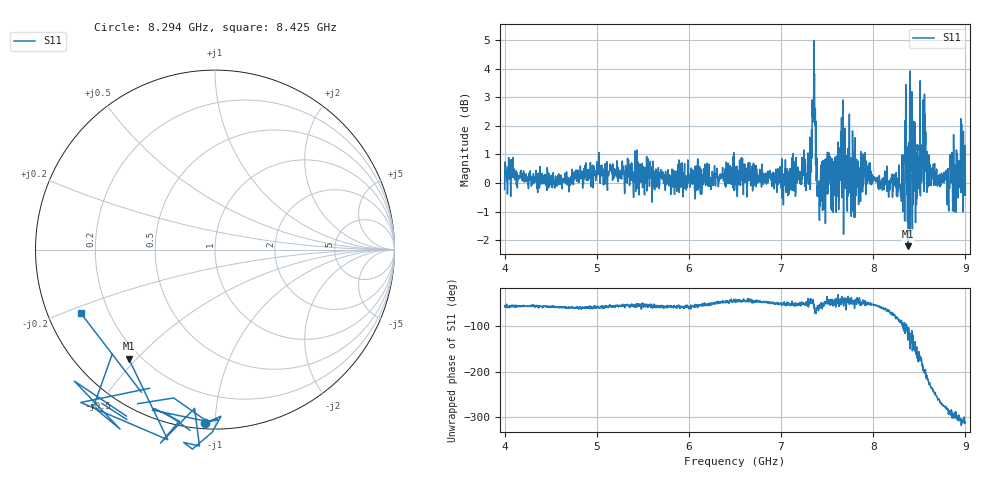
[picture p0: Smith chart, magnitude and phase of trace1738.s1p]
! Created with skrf 1.8.0 (http://scikit-rf.org).
# Hz S RI R 50.0
!freq ReS11 ImS11
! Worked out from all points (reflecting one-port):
!   1601 points, 4 GHz to 9 GHz, reference 50 ohm
!   lowest |S11| = -2.2 dB at 8.381 GHz (marker M1), VSWR 7.89, Z = 7.79 - j23.7 ohm
!   phase of S11 starts at -57 deg and turns -254 deg over the sweep
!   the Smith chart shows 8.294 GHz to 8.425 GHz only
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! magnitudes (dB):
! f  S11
! 4 GHz  -0.2
! 4.066 GHz  -0.5
! 4.625 GHz  -0.2
! 5.25 GHz  0.2
! 5.875 GHz  0.2
! 6.5 GHz  0.0
! 7.125 GHz  0.4
! 7.294 GHz  0.6
! 7.353 GHz  2.2
! 7.369 GHz  2.6
! 7.4 GHz  -0.3
! 7.412 GHz  -0.2
! 7.512 GHz  0.9
! 7.606 GHz  0.2
! 7.669 GHz  1.4
! 7.703 GHz  1.0
! 7.75 GHz  0.1
! 7.769 GHz  -0.7
! 8.319 GHz  0.8
! 8.334 GHz  -0.4
! 8.375 GHz  1.1
! 8.381 GHz  -2.2
! 8.481 GHz  1.1
! 8.544 GHz  1.7
! 8.622 GHz  0.3
! 8.806 GHz  0.1
! 8.972 GHz  0.6
! 9 GHz  -0.4
